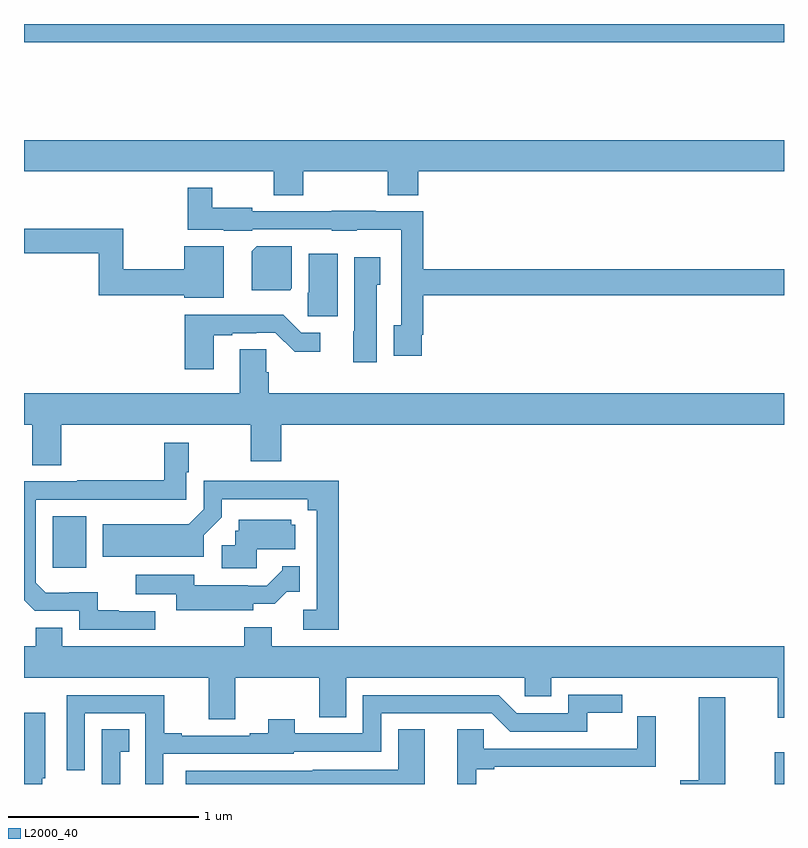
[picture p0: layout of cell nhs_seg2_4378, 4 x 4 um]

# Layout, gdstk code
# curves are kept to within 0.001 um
import gdstk
lib = gdstk.Library(unit=1e-6, precision=1e-09)
def R(c, l, rs):  # rectangles x0, y0, x1, y1
    for r in rs: c.add(gdstk.rectangle(r[:2], r[2:], *l))
def P(c, l, *ps):  # polygons
    for p in ps: c.add(gdstk.Polygon(p, *l))
L2000_40 = (2000, 40)

nhs_seg2_4378 = lib.new_cell('nhs_seg2_4378')
R(nhs_seg2_4378, L2000_40, [(352.952,589.8,353,589.966), (349.151,590.937,349.327,591.208), (349,593.704,353,593.8)])
P(nhs_seg2_4378, L2000_40, [(350.469,593.024),(350.914,593.024),(350.914,592.9),(351.074,592.9),(351.074,593.024),(353,593.024),(353,593.188),(349,593.188),(349,593.024),(350.314,593.024),(350.314,592.9),(350.469,592.9)],
  [(351.094,592.165),(351.101,592.165),(351.101,592.372),(353,592.372),(353,592.508),(351.101,592.508),(351.101,592.815),(350.851,592.815),(350.851,592.817),(350.619,592.817),(350.619,592.815),(350.202,592.815),(350.202,592.834),(349.99,592.834),(349.99,592.939),(349.861,592.939),(349.861,592.718),(350.052,592.718),(350.052,592.712),(350.202,592.712),(350.202,592.719),(350.619,592.719),(350.619,592.712),(350.751,592.712),(350.751,592.718),(350.985,592.718),(350.985,592.214),(350.945,592.214),(350.945,592.053),(351.094,592.053)],
  [(350.05,592.63),(349.844,592.63),(349.844,592.508),(349.522,592.508),(349.522,592.723),(349,592.723),(349,592.594),(349.393,592.594),(349.393,592.372),(349.844,592.372),(349.844,592.358),(350.05,592.358)],
  [(350.41,592.408),(350.41,592.63),(350.224,592.63),(350.198,592.604),(350.198,592.4),(350.402,592.4)],
  [(350.65,592.591),(350.498,592.591),(350.498,592.386),(350.494,592.386),(350.494,592.263),(350.65,592.263)],
  [(350.857,592.428),(350.875,592.428),(350.875,592.573),(350.738,592.573),(350.738,592.182),(350.732,592.182),(350.732,592.02),(350.857,592.02)],
  [(349.999,592.161),(350.095,592.161),(350.095,592.173),(350.222,592.173),(350.222,592.176),(350.322,592.176),(350.425,592.074),(350.56,592.074),(350.56,592.176),(350.46,592.176),(350.365,592.271),(349.847,592.271),(349.847,591.984),(349.999,591.984)],
  [(350.135,592.088),(350.135,591.856),(349,591.856),(349,591.692),(349.043,591.692),(349.043,591.478),(349.196,591.478),(349.196,591.692),(350.194,591.692),(350.194,591.498),(350.354,591.498),(350.354,591.692),(353,591.692),(353,591.856),(350.288,591.856),(350.288,591.966),(350.274,591.966),(350.274,592.088)],
  [(349.69,590.709),(349.499,590.709),(349.499,590.714),(349.388,590.714),(349.388,590.808),(349.115,590.807),(349.062,590.859),(349.062,591.297),(349.854,591.296),(349.854,591.441),(349.867,591.441),(349.867,591.595),(349.738,591.595),(349.738,591.398),(349.279,591.398),(349.279,591.393),(349,591.393),(349,590.768),(349.056,590.712),(349.29,590.712),(349.29,590.613),(349.69,590.613)],
  [(350.657,591.396),(349.947,591.396),(349.947,591.246),(349.867,591.166),(349.415,591.166),(349.415,590.996),(349.947,590.996),(349.947,591.11),(350.04,591.203),(350.04,591.3),(350.494,591.3),(350.494,591.242),(350.541,591.242),(350.541,590.718),(350.469,590.718),(350.469,590.613),(350.657,590.613)],
  [(350.224,591.035),(350.428,591.035),(350.428,591.165),(350.406,591.165),(350.406,591.19),(350.129,591.19),(350.129,591.132),(350.113,591.132),(350.113,591.057),(350.04,591.057),(350.04,590.936),(350.224,590.936)],
  [(350.206,590.75),(350.321,590.75),(350.382,590.811),(350.451,590.811),(350.451,590.947),(350.358,590.947),(350.358,590.925),(350.277,590.844),(350.177,590.844),(350.177,590.847),(349.896,590.847),(349.896,590.902),(349.587,590.902),(349.587,590.798),(349.8,590.798),(349.8,590.714),(350.206,590.714)],
  [(350.113,590.36),(350.555,590.36),(350.555,590.152),(350.695,590.152),(350.695,590.36),(351.636,590.36),(351.636,590.262),(351.775,590.262),(351.775,590.36),(352.967,590.36),(352.967,590.148),(353,590.148),(353,590.524),(350.305,590.524),(350.305,590.626),(350.158,590.626),(350.158,590.524),(349.201,590.524),(349.201,590.623),(349.061,590.623),(349.061,590.524),(349,590.524),(349,590.36),(349.973,590.36),(349.973,590.14),(350.113,590.14)],
  [(349.734,589.959),(350.421,589.959),(350.421,589.971),(350.88,589.971),(350.88,590.172),(351.462,590.172),(351.558,590.076),(351.965,590.076),(351.965,590.174),(352.148,590.174),(352.148,590.271),(351.864,590.271),(351.864,590.172),(351.594,590.172),(351.498,590.268),(350.784,590.268),(350.784,590.067),(350.425,590.067),(350.425,590.14),(350.285,590.14),(350.285,590.068),(350.189,590.068),(350.189,590.055),(349.831,590.055),(349.831,590.068),(349.737,590.068),(349.737,590.268),(349.224,590.268),(349.224,589.872),(349.32,589.872),(349.32,590.172),(349.638,590.172),(349.637,589.8),(349.734,589.8)],
  [(352.69,590.257),(352.55,590.257),(352.55,589.82),(352.454,589.82),(352.454,589.8),(352.69,589.8)],
  [(349.096,589.83),(349.111,589.83),(349.111,590.176),(349,590.176),(349,589.8),(349.096,589.8)],
  [(351.379,589.878),(351.475,589.878),(351.475,589.89),(352.326,589.89),(352.326,590.156),(352.227,590.156),(352.227,589.986),(351.42,589.986),(351.42,590.087),(351.281,590.087),(351.281,589.8),(351.379,589.8)],
  [(349.507,589.969),(349.553,589.969),(349.553,590.087),(349.41,590.087),(349.41,589.8),(349.507,589.8)],
  [(351.109,590.087),(350.969,590.087),(350.969,589.875),(350.52,589.875),(350.52,589.869),(349.851,589.869),(349.851,589.8),(351.109,589.8)])

lib.write_gds('nhs_seg2_4378.gds')
